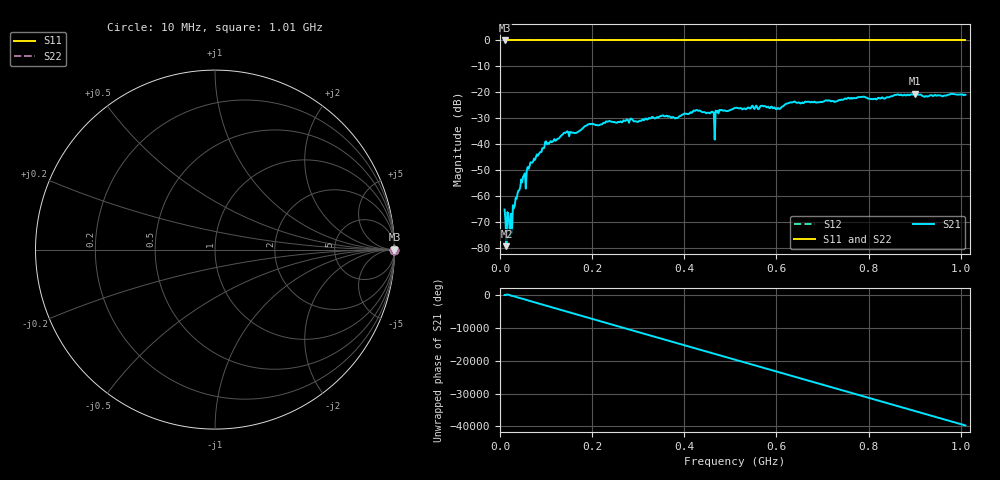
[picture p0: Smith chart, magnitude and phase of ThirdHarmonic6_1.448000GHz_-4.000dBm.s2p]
! 8/16/2025 4:46:21 PM
! C:\ANRITSUVNA\TEMP\TEMP.S2P
! CHANNEL.1
! TR.MEASUREMENT
! RAW.DATA
! RF.CORRECTION.OFF
! AVERAGING.OFF
! IF.BANDWIDTH: 5KHZ
! SWEEPTYPE:  FREQ.SWEEP(Linear)
! Reference Plane Port Info
! PORT:  PORT1  PORT2
! DISTANCE:  0  m  0  m
! TIME:  0  s  0  s
! PHASE.OFFSET:  0  deg.  0  deg.
! LOSS:  0  dB  0  dB
! REF.LOSS:  0  dB  0  dB
! REF.FREQ:  0  Hz  0  Hz
! Power Info
! POWER:  -20  dBm  -20  dBm
! EFF.POWER:  -20  dBm  -20  dBm
! SOURCE.ATTEN:  0  dB  0  dB
! TEST.ATTEN:  0  dB  0  dB
# GHZ S RI R 50.0
! FREQ.GHZ  S11RE  S11IM  S21RE  S21IM  S12RE  S12IM  S22RE  S22IM
!; PortSelection: Port_12
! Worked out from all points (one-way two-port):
!   501 points, 10 MHz to 1.01 GHz, reference 50 ohm
!   highest |S21| = -20.52 dB at 900 MHz (marker M1); lowest = -79.3 dB at 14 MHz (marker M2)
!   lowest |S11| = 0.0 dB at 10 MHz (marker M3)
!   |S11| at or under -10 dB: nowhere
!   |S22| runs from 0.0 to 0.0 dB; largest |S21 - S12| = 1.1
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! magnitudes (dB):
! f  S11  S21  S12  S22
! 10 MHz  0.0  -65.2  0.0  0.0
! 14 MHz  0.0  -79.3  0.0  0.0
! 18 MHz  0.0  -66.8  0.0  0.0
! 20 MHz  0.0  -70.5  0.0  0.0
! 24 MHz  0.0  -66.8  0.0  0.0
! 32 MHz  0.0  -63.6  0.0  0.0
! 50 MHz  0.0  -52.6  0.0  0.0
! 96 MHz  0.0  -41.4  0.0  0.0
! 178 MHz  0.0  -34.1  0.0  0.0
! 344 MHz  0.0  -29.7  0.0  0.0
! 382 MHz  0.0  -29.8  0.0  0.0
! 430 MHz  0.0  -27.1  0.0  0.0
! 460 MHz  0.0  -27.4  0.0  0.0
! 462 MHz  0.0  -27.7  0.0  0.0
! 470 MHz  0.0  -27.4  0.0  0.0
! 472 MHz  0.0  -27.1  0.0  0.0
! 510 MHz  0.0  -26.0  0.0  0.0
! 604 MHz  0.0  -26.1  0.0  0.0
! 678 MHz  0.0  -23.8  0.0  0.0
! 844 MHz  0.0  -21.9  0.0  0.0
! 900 MHz  0.0  -20.5  0.0  0.0
! 1.01 GHz  0.0  -21.0  0.0  0.0
